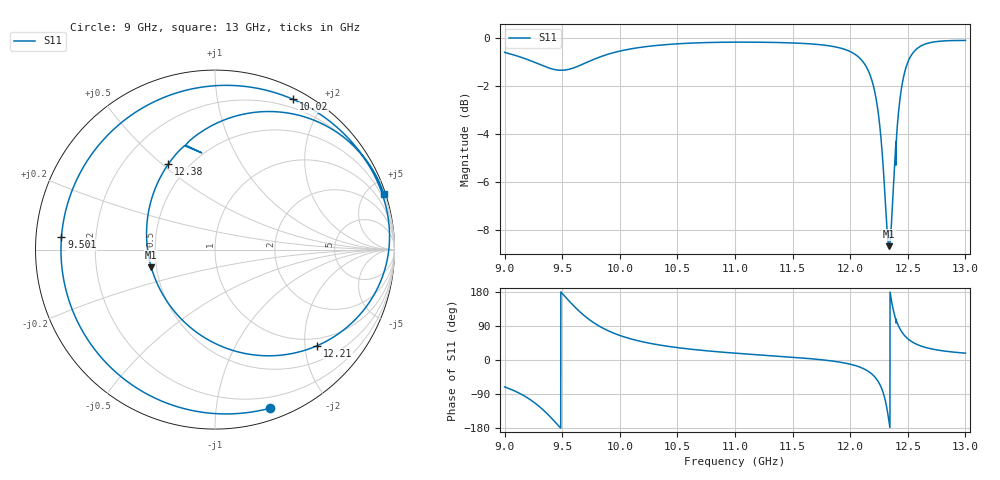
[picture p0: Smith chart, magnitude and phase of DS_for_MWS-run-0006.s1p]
! TOUCHSTONE file generated by CST DESIGN STUDIO
! Date and time: Tue Feb  4 17:47:20 2025
! Project name: C:\Work\MatlabApps\UnitCellOptimizationMatlab\CST\unitcell.cst
! Tree item: Tasks\Sweep1\SPara1\S-Parameters
! Header version: 2024
! Port assignment regex: !\s*Touchstone port\s*([0-9]+)\s*=\s*(CST MWS port|CST DES external port|CST DES block port)\s*(.+)\s* \(\"(.*)\"\)(\s*mode\s*([0-9]+))?.*
! Touchstone port assignment:
! Touchstone port 1 = CST DES external port 1 ("")
# GHz S MA R 50
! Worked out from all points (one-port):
!   4001 points, 9 GHz to 13 GHz, reference 50 ohm
!   lowest |S11| = -8.7 dB at 12.34 GHz (marker M1), VSWR 2.17, Z = 23.4 - j5.38 ohm
!   |S11| at or under -10 dB: nowhere
!   S11 on the Smith chart (normalised r, x): 9 GHz: 0.10, -1.40; 9.501 GHz: 0.08, +0.04; 10.02 GHz: 0.11, +1.64; 12.21 GHz: 0.83, -2.28; 12.38 GHz: 0.39, +0.52; 13 GHz: 0.20, +6.28
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9  0.9352 -71.0
9.164  0.91 -93.6
9.279  0.8878 -117.3
9.407  0.8643 -153.4
9.5  0.8583 175.7
9.501  0.8583 175.3
9.613  0.8704 138.9
9.714  0.8915 111.5
9.831  0.9155 87.7
10  0.9409 64.8
10.021  0.9434 62.6
10.228  0.9614 46.1
10.5  0.9745 32.7
11  0.9824 18.1
11.5  0.9786 7.3
12  0.9389 -11.1
12.127  0.8829 -24.5
12.209  0.7823 -43.1
12.283  0.5546 -83.2
12.31  0.4353 -114.0
12.338  0.3686 -164.4
12.361  0.4227 151.7
12.385  0.5423 118.7
12.433  0.7502 81.6
12.5  0.8915 56.1
12.569  0.9471 42.6
12.662  0.9752 32.5
13  0.9903 18.1
